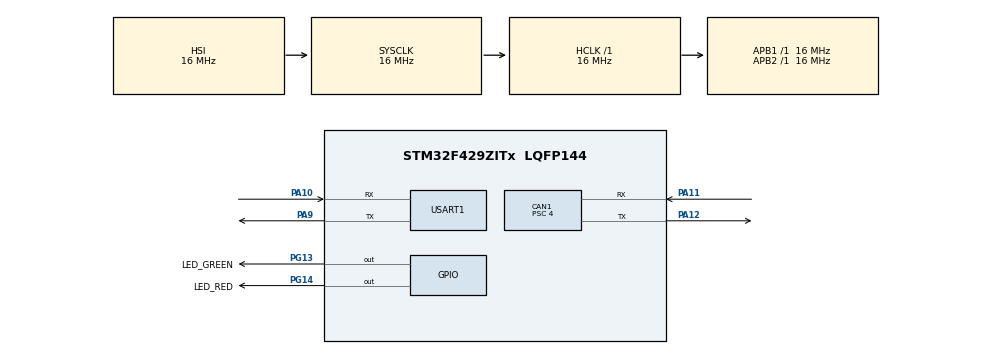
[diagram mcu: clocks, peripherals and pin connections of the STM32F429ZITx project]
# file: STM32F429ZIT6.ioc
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CAN1.BS1=CAN_BS1_4TQ
CAN1.BS2=CAN_BS2_3TQ
CAN1.CalculateBaudRate=500000
CAN1.CalculateTimeBit=2000
CAN1.CalculateTimeQuantum=250.0
CAN1.Prescaler=4
Mcu.Family=STM32F4
Mcu.Name=STM32F429ZITx
Mcu.Package=LQFP144
NVIC.CAN1_RX0_IRQn=true\:0\:0\:false\:false\:true\:true\:true\:true
NVIC.PriorityGroup=NVIC_PRIORITYGROUP_4
PA10.Mode=Asynchronous
PA10.Signal=USART1_RX
PA11.GPIO_PuPd=GPIO_PULLUP
PA11.Mode=CAN_Activate
PA11.Signal=CAN1_RX
PA12.Mode=CAN_Activate
PA12.Signal=CAN1_TX
PA9.Mode=Asynchronous
PA9.Signal=USART1_TX
PG13.GPIO_Label=LED_GREEN
PG13.GPIO_Speed=GPIO_SPEED_FREQ_VERY_HIGH
PG13.Signal=GPIO_Output
PG14.GPIO_Label=LED_RED
PG14.GPIO_Speed=GPIO_SPEED_FREQ_VERY_HIGH
PG14.Signal=GPIO_Output
ProjectManager.HeapSize=0x200
ProjectManager.StackSize=0x400
ProjectManager.TargetToolchain=STM32CubeIDE
RCC.AHBFreq_Value=16000000
RCC.APB1Freq_Value=16000000
RCC.APB2Freq_Value=16000000
RCC.CortexFreq_Value=16000000
RCC.HSE_VALUE=25000000
RCC.HSI_VALUE=16000000
RCC.LSE_VALUE=32768
RCC.SYSCLKFreq_VALUE=16000000
RCC.VCOOutputFreq_Value=192000000
USART1.VirtualMode=VM_ASYNC
board=custom

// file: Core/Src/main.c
/* USER CODE BEGIN Header */
/**
  ******************************************************************************
  * @file           : main.c
  * @brief          : Main program body
  ******************************************************************************
  * @attention
  *
  * Copyright (c) 2024 STMicroelectronics.
  * All rights reserved.
  *
  * This software is licensed under terms that can be found in the LICENSE file
  * in the root directory of this software component.
  * If no LICENSE file comes with this software, it is provided AS-IS.
  *
  ******************************************************************************
  */
/* USER CODE END Header */
#include "main.h"

/* USER CODE BEGIN Includes */
#include <stdio.h>
#include <string.h>
/* USER CODE END Includes */

CAN_HandleTypeDef hcan1;

UART_HandleTypeDef huart1;

/* USER CODE BEGIN PV */
CAN_RxHeaderTypeDef rxHeader; //CAN Bus Transmit Header
CAN_TxHeaderTypeDef txHeader; //CAN Bus Receive Header
uint8_t canRX[8] = {0,0,0,0,0,0,0,0};  //CAN Bus Receive Buffer
CAN_FilterTypeDef canfil; //CAN Bus Filter
uint32_t canMailbox; //CAN Bus Mail box variable
/* USER CODE END PV */

void SystemClock_Config(void);
static void MX_GPIO_Init(void);
static void MX_CAN1_Init(void);
static void MX_USART1_UART_Init(void);

int main(void)
{

  /* MCU Configuration--------------------------------------------------------*/

  /* Reset of all peripherals, Initializes the Flash interface and the Systick. */
  HAL_Init();

  /* Configure the system clock */
  SystemClock_Config();

  /* Initialize all configured peripherals */
  MX_GPIO_Init();
  MX_CAN1_Init();
  MX_USART1_UART_Init();
  /* USER CODE BEGIN 2 */
  canfil.FilterBank = 0;
  canfil.FilterMode = CAN_FILTERMODE_IDMASK;
  canfil.FilterFIFOAssignment = CAN_RX_FIFO0;
  canfil.FilterIdHigh = 0;
  canfil.FilterIdLow = 0;
  canfil.FilterMaskIdHigh = 0;
  canfil.FilterMaskIdLow = 0;
  canfil.FilterScale = CAN_FILTERSCALE_32BIT;
  canfil.FilterActivation = ENABLE;
  canfil.SlaveStartFilterBank = 14;

  txHeader.DLC = 8;
  txHeader.IDE = CAN_ID_STD;
  txHeader.RTR = CAN_RTR_DATA;
  txHeader.StdId = 0x030;
  txHeader.ExtId = 0x02;
  txHeader.TransmitGlobalTime = DISABLE;

  HAL_CAN_ConfigFilter(&hcan1,&canfil);
  HAL_CAN_Start(&hcan1);
  HAL_CAN_ActivateNotification(&hcan1,CAN_IT_RX_FIFO0_MSG_PENDING);
  /* USER CODE END 2 */

  /* Infinite loop */
  /* USER CODE BEGIN WHILE */
  while (1)
  {
	  char buf[256] = {0};
	  char msg_buff[32] = {0};

	  static uint8_t payload = 0;
	  static uint8_t txcount = 0;
	  int i = 0;

	  uint8_t csend[] = {0x01, 0x02, 0x03, 0x04, 0x05, 0x06, (payload + 0x40), payload};
	  payload++;
	  txcount++;

	  HAL_CAN_AddTxMessage(&hcan1,&txHeader,csend,&canMailbox);

	  while (i < sizeof(csend))
	  {
	       snprintf(&msg_buff[i * 3], 4, "%02X-", (char)csend[i]);
	       i++;
	  }

	  snprintf(buf, sizeof(buf), "Sending CAN1 TX message %d: %s\n", txcount, msg_buff);
	  HAL_UART_Transmit(&huart1, (const uint8_t *)buf, strlen((const char *)buf), 0xFFFF);
	  HAL_GPIO_TogglePin(LED_RED_GPIO_Port, LED_RED_Pin);
	  HAL_Delay(100);
    /* USER CODE END WHILE */

  }
}

void SystemClock_Config(void)
{
  RCC_OscInitTypeDef RCC_OscInitStruct = {0};
  RCC_ClkInitTypeDef RCC_ClkInitStruct = {0};

  /** Configure the main internal regulator output voltage
  */
  __HAL_RCC_PWR_CLK_ENABLE();
  __HAL_PWR_VOLTAGESCALING_CONFIG(PWR_REGULATOR_VOLTAGE_SCALE3);

  /** Initializes the RCC Oscillators according to the specified parameters
  * in the RCC_OscInitTypeDef structure.
  */
  RCC_OscInitStruct.OscillatorType = RCC_OSCILLATORTYPE_HSI;
  RCC_OscInitStruct.HSIState = RCC_HSI_ON;
  RCC_OscInitStruct.HSICalibrationValue = RCC_HSICALIBRATION_DEFAULT;
  RCC_OscInitStruct.PLL.PLLState = RCC_PLL_NONE;
  if (HAL_RCC_OscConfig(&RCC_OscInitStruct) != HAL_OK)
  {
    Error_Handler();
  }

  /** Initializes the CPU, AHB and APB buses clocks
  */
  RCC_ClkInitStruct.ClockType = RCC_CLOCKTYPE_HCLK|RCC_CLOCKTYPE_SYSCLK
                              |RCC_CLOCKTYPE_PCLK1|RCC_CLOCKTYPE_PCLK2;
  RCC_ClkInitStruct.SYSCLKSource = RCC_SYSCLKSOURCE_HSI;
  RCC_ClkInitStruct.AHBCLKDivider = RCC_SYSCLK_DIV1;
  RCC_ClkInitStruct.APB1CLKDivider = RCC_HCLK_DIV1;
  RCC_ClkInitStruct.APB2CLKDivider = RCC_HCLK_DIV1;

  if (HAL_RCC_ClockConfig(&RCC_ClkInitStruct, FLASH_LATENCY_0) != HAL_OK)
  {
    Error_Handler();
  }
}

static void MX_CAN1_Init(void)
{

  hcan1.Instance = CAN1;
  hcan1.Init.Prescaler = 4;
  hcan1.Init.Mode = CAN_MODE_NORMAL;
  hcan1.Init.SyncJumpWidth = CAN_SJW_1TQ;
  hcan1.Init.TimeSeg1 = CAN_BS1_4TQ;
  hcan1.Init.TimeSeg2 = CAN_BS2_3TQ;
  hcan1.Init.TimeTriggeredMode = DISABLE;
  hcan1.Init.AutoBusOff = DISABLE;
  hcan1.Init.AutoWakeUp = DISABLE;
  hcan1.Init.AutoRetransmission = DISABLE;
  hcan1.Init.ReceiveFifoLocked = DISABLE;
  hcan1.Init.TransmitFifoPriority = DISABLE;
  if (HAL_CAN_Init(&hcan1) != HAL_OK)
  {
    Error_Handler();
  }

}

static void MX_USART1_UART_Init(void)
{

  huart1.Instance = USART1;
  huart1.Init.BaudRate = 115200;
  huart1.Init.WordLength = UART_WORDLENGTH_8B;
  huart1.Init.StopBits = UART_STOPBITS_1;
  huart1.Init.Parity = UART_PARITY_NONE;
  huart1.Init.Mode = UART_MODE_TX_RX;
  huart1.Init.HwFlowCtl = UART_HWCONTROL_NONE;
  huart1.Init.OverSampling = UART_OVERSAMPLING_16;
  if (HAL_UART_Init(&huart1) != HAL_OK)
  {
    Error_Handler();
  }

}

static void MX_GPIO_Init(void)
{
  GPIO_InitTypeDef GPIO_InitStruct = {0};

  /* GPIO Ports Clock Enable */
  __HAL_RCC_GPIOA_CLK_ENABLE();
  __HAL_RCC_GPIOG_CLK_ENABLE();

  /*Configure GPIO pin Output Level */
  HAL_GPIO_WritePin(GPIOG, LED_GREEN_Pin|LED_RED_Pin, GPIO_PIN_RESET);

  /*Configure GPIO pins : LED_GREEN_Pin LED_RED_Pin */
  GPIO_InitStruct.Pin = LED_GREEN_Pin|LED_RED_Pin;
  GPIO_InitStruct.Mode = GPIO_MODE_OUTPUT_PP;
  GPIO_InitStruct.Pull = GPIO_NOPULL;
  GPIO_InitStruct.Speed = GPIO_SPEED_FREQ_VERY_HIGH;
  HAL_GPIO_Init(GPIOG, &GPIO_InitStruct);

}

/* USER CODE BEGIN 4 */
void HAL_CAN_RxFifo0MsgPendingCallback(CAN_HandleTypeDef *hcan1)
{
	HAL_CAN_GetRxMessage(hcan1, CAN_RX_FIFO0, &rxHeader, canRX);
	HAL_GPIO_TogglePin(LED_GREEN_GPIO_Port, LED_GREEN_Pin);

}
/* USER CODE END 4 */

void Error_Handler(void)
{
  __disable_irq();
  while (1)
  {
  }
}
